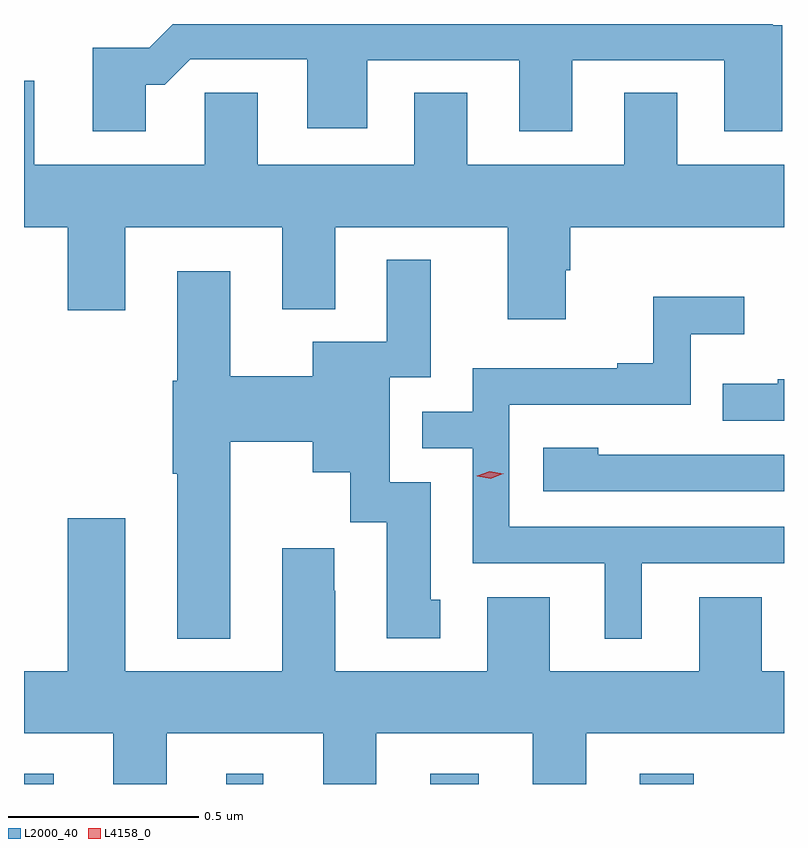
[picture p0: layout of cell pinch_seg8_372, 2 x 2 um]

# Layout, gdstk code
import gdstk
lib = gdstk.Library(unit=1e-6, precision=1e-09)
def R(c, l, rs):  # rectangles x0, y0, x1, y1
    for r in rs: c.add(gdstk.rectangle(r[:2], r[2:], *l))
def P(c, l, *ps):  # polygons
    for p in ps: c.add(gdstk.Polygon(p, *l))
L2000_40 = (2000, 40)
L4158_0 = (4158, 0)

pinch_seg8_372 = lib.new_cell('pinch_seg8_372')
R(pinch_seg8_372, L2000_40, [(393.466,1116.367,393.544,1116.394), (393.998,1116.367,394.096,1116.394), (394.535,1116.367,394.663,1116.394), (395.087,1116.367,395.228,1116.394)])
P(pinch_seg8_372, L2000_40, [(393.787,1118.207),(393.836,1118.207),(393.903,1118.274),(394.211,1118.274),(394.211,1118.093),(394.369,1118.093),(394.369,1118.271),(394.769,1118.271),(394.769,1118.085),(394.909,1118.085),(394.909,1118.271),(395.309,1118.271),(395.309,1118.085),(395.461,1118.085),(395.461,1118.364),(395.437,1118.364),(395.437,1118.367),(393.858,1118.367),(393.796,1118.305),(393.647,1118.305),(393.647,1118.085),(393.787,1118.085)],
  [(394.891,1117.719),(394.904,1117.719),(394.904,1117.832),(395.466,1117.832),(395.466,1117.996),(395.185,1117.996),(395.185,1118.186),(395.045,1118.186),(395.045,1117.996),(394.633,1117.996),(394.633,1118.186),(394.493,1118.186),(394.493,1117.996),(394.081,1117.996),(394.081,1118.186),(393.942,1118.186),(393.942,1117.996),(393.493,1117.996),(393.493,1118.218),(393.466,1118.218),(393.466,1117.832),(393.581,1117.832),(393.581,1117.614),(393.733,1117.614),(393.733,1117.832),(394.145,1117.832),(394.145,1117.616),(394.285,1117.616),(394.285,1117.832),(394.739,1117.832),(394.739,1117.59),(394.891,1117.59)],
  [(394.009,1117.268),(394.226,1117.268),(394.226,1117.187),(394.325,1117.187),(394.325,1117.056),(394.421,1117.056),(394.421,1116.75),(394.561,1116.75),(394.561,1116.852),(394.537,1116.852),(394.537,1117.161),(394.428,1117.161),(394.428,1117.437),(394.537,1117.437),(394.537,1117.747),(394.421,1117.747),(394.421,1117.531),(394.226,1117.531),(394.226,1117.44),(394.009,1117.44),(394.009,1117.717),(393.869,1117.717),(393.869,1117.428),(393.857,1117.428),(393.857,1117.184),(393.869,1117.184),(393.869,1116.749),(394.009,1116.749)],
  [(395.092,1116.948),(395.466,1116.948),(395.466,1117.044),(394.743,1117.044),(394.743,1117.365),(395.22,1117.365),(395.22,1117.55),(395.362,1117.55),(395.362,1117.649),(395.122,1117.649),(395.122,1117.474),(395.027,1117.474),(395.027,1117.461),(394.647,1117.461),(394.647,1117.347),(394.514,1117.347),(394.514,1117.251),(394.647,1117.251),(394.647,1116.948),(394.994,1116.948),(394.994,1116.749),(395.092,1116.749)],
  [(395.466,1117.432),(395.449,1117.432),(395.449,1117.42),(395.305,1117.42),(395.305,1117.323),(395.466,1117.323)],
  [(395.466,1117.233),(395.213,1117.233),(395.213,1117.234),(394.977,1117.234),(394.977,1117.252),(394.833,1117.252),(394.833,1117.137),(395.466,1117.137)],
  [(393.841,1116.5),(394.253,1116.5),(394.253,1116.367),(394.393,1116.367),(394.393,1116.5),(394.805,1116.5),(394.805,1116.367),(394.945,1116.367),(394.945,1116.5),(395.466,1116.5),(395.466,1116.664),(395.407,1116.664),(395.407,1116.859),(395.243,1116.859),(395.243,1116.664),(394.849,1116.664),(394.849,1116.859),(394.685,1116.859),(394.685,1116.664),(394.285,1116.664),(394.285,1116.875),(394.282,1116.875),(394.282,1116.988),(394.145,1116.988),(394.145,1116.664),(393.733,1116.664),(393.733,1117.066),(393.581,1117.066),(393.581,1116.664),(393.466,1116.664),(393.466,1116.5),(393.701,1116.5),(393.701,1116.367),(393.841,1116.367)])
P(pinch_seg8_372, L4158_0, [(394.694,1117.17),(394.659,1117.177),(394.658,1117.178),(394.659,1117.178),(394.692,1117.19),(394.727,1117.183),(394.728,1117.183),(394.727,1117.183)])

lib.write_gds('pinch_seg8_372.gds')
